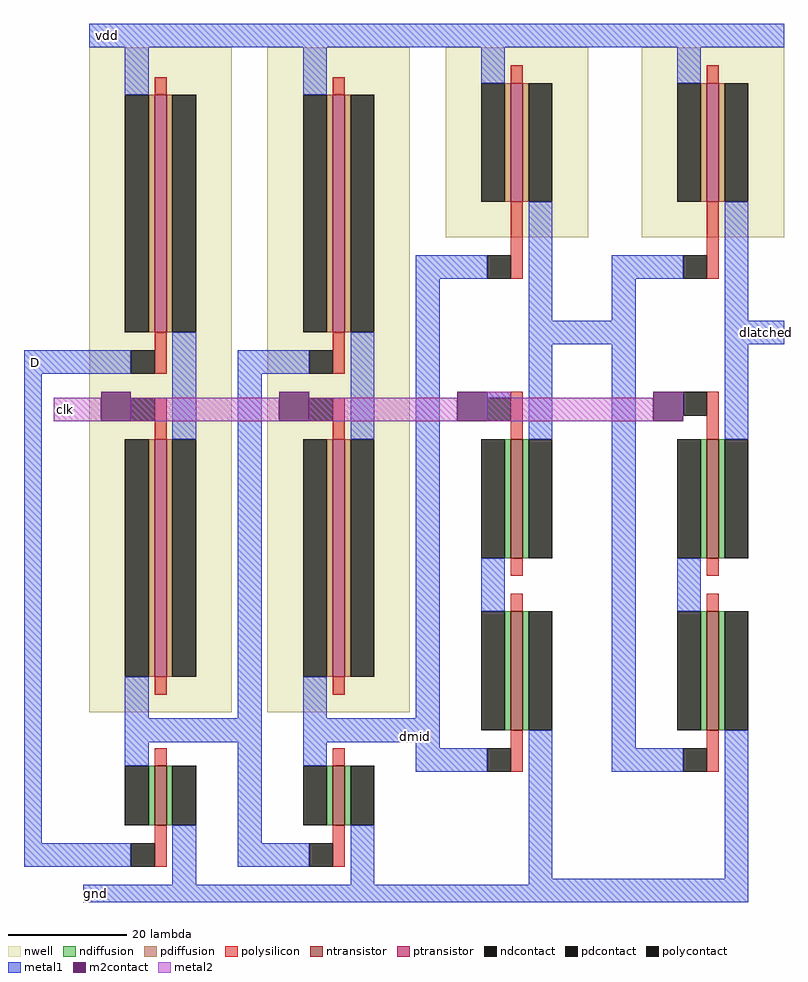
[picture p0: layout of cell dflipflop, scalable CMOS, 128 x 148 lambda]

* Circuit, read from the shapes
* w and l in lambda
.subckt dflipflop D clk dlatched dmid gnd vdd
M1 gnd D n1 VSUBS nfet w=10 l=2
M2 gnd n1 dmid VSUBS nfet w=10 l=2
M3 gnd dmid n2 VSUBS nfet w=20 l=2
M4 n3 clk n2 VSUBS nfet w=20 l=2
M5 gnd n3 n4 VSUBS nfet w=20 l=2
M6 dlatched clk n4 VSUBS nfet w=20 l=2
M7 n5 clk n1 n6 pfet w=40 l=2
M8 n5 D vdd n6 pfet w=40 l=2
M9 n7 clk dmid n8 pfet w=40 l=2
M10 n7 n1 vdd n8 pfet w=40 l=2
M11 n3 dmid vdd n9 pfet w=20 l=2
M12 dlatched n3 vdd n10 pfet w=20 l=2
.ends

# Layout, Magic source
magic
tech scmos
<< nwell >>
rect 0 -58 24 54
rect 30 -58 54 54
rect 60 22 84 54
rect 93 22 117 54
<< ntransistor >>
rect 71 -32 73 -12
rect 104 -32 106 -12
rect 71 -61 73 -41
rect 104 -61 106 -41
rect 11 -77 13 -67
rect 41 -77 43 -67
<< ptransistor >>
rect 11 6 13 46
rect 41 6 43 46
rect 71 28 73 48
rect 104 28 106 48
rect 11 -52 13 -12
rect 41 -52 43 -12
<< ndiffusion >>
rect 70 -32 71 -12
rect 73 -32 74 -12
rect 103 -32 104 -12
rect 106 -32 107 -12
rect 70 -61 71 -41
rect 73 -61 74 -41
rect 103 -61 104 -41
rect 106 -61 107 -41
rect 10 -77 11 -67
rect 13 -77 14 -67
rect 40 -77 41 -67
rect 43 -77 44 -67
<< pdiffusion >>
rect 10 6 11 46
rect 13 6 14 46
rect 40 6 41 46
rect 43 6 44 46
rect 70 28 71 48
rect 73 28 74 48
rect 103 28 104 48
rect 106 28 107 48
rect 10 -52 11 -12
rect 13 -52 14 -12
rect 40 -52 41 -12
rect 43 -52 44 -12
<< ndcontact >>
rect 66 -32 70 -12
rect 74 -32 78 -12
rect 99 -32 103 -12
rect 107 -32 111 -12
rect 66 -61 70 -41
rect 74 -61 78 -41
rect 99 -61 103 -41
rect 107 -61 111 -41
rect 6 -77 10 -67
rect 14 -77 18 -67
rect 36 -77 40 -67
rect 44 -77 48 -67
<< pdcontact >>
rect 6 6 10 46
rect 14 6 18 46
rect 36 6 40 46
rect 44 6 48 46
rect 66 28 70 48
rect 74 28 78 48
rect 99 28 103 48
rect 107 28 111 48
rect 6 -52 10 -12
rect 14 -52 18 -12
rect 36 -52 40 -12
rect 44 -52 48 -12
<< polysilicon >>
rect 11 46 13 49
rect 41 46 43 49
rect 71 48 73 51
rect 104 48 106 51
rect 71 15 73 28
rect 104 15 106 28
rect 11 -1 13 6
rect 41 -1 43 6
rect 11 -12 13 -5
rect 41 -12 43 -5
rect 71 -12 73 -4
rect 104 -12 106 -4
rect 71 -35 73 -32
rect 104 -35 106 -32
rect 71 -41 73 -38
rect 104 -41 106 -38
rect 11 -55 13 -52
rect 41 -55 43 -52
rect 11 -67 13 -64
rect 41 -67 43 -64
rect 71 -68 73 -61
rect 104 -68 106 -61
rect 11 -84 13 -77
rect 41 -84 43 -77
<< polycontact >>
rect 67 15 71 19
rect 100 15 104 19
rect 7 -1 11 3
rect 37 -1 41 3
rect 7 -9 11 -5
rect 37 -9 41 -5
rect 67 -9 71 -5
rect 100 -8 104 -4
rect 67 -68 71 -64
rect 100 -68 104 -64
rect 7 -84 11 -80
rect 37 -84 41 -80
<< metal1 >>
rect 0 54 117 58
rect 6 46 10 54
rect 36 46 40 54
rect 66 48 70 54
rect 99 48 103 54
rect -11 -1 7 3
rect -11 -80 -8 -1
rect 14 -12 18 6
rect 25 -1 37 3
rect 6 -59 10 -52
rect 25 -59 29 -1
rect 44 -12 48 6
rect 6 -63 29 -59
rect 6 -67 10 -63
rect -11 -84 7 -80
rect 14 -87 18 -77
rect 25 -80 29 -63
rect 55 15 67 19
rect 36 -59 40 -52
rect 55 -59 59 15
rect 74 8 78 28
rect 88 15 100 19
rect 88 8 92 15
rect 74 4 92 8
rect 67 -5 71 -4
rect 74 -12 78 4
rect 36 -63 59 -59
rect 66 -41 70 -32
rect 36 -67 40 -63
rect 55 -64 59 -63
rect 55 -68 67 -64
rect 25 -84 37 -80
rect 44 -87 48 -77
rect 74 -86 78 -61
rect 88 -64 92 4
rect 107 8 111 28
rect 107 4 117 8
rect 107 -12 111 4
rect 99 -41 103 -32
rect 88 -68 100 -64
rect 107 -86 111 -61
rect 74 -87 111 -86
rect -1 -90 111 -87
<< m2contact >>
rect 2 -9 7 -4
rect 32 -9 37 -4
rect 62 -9 67 -4
rect 95 -9 100 -4
<< metal2 >>
rect -6 -9 2 -5
rect 7 -9 32 -5
rect 37 -9 62 -5
rect 67 -5 71 -4
rect 67 -9 95 -5
<< labels >>
rlabel metal1 0 54 6 58 5 vdd
rlabel metal1 -11 -1 -7 3 3 D
rlabel metal1 111 4 117 8 7 dlatched
rlabel metal1 -1 -90 3 -87 1 gnd
rlabel metal2 -6 -9 -2 -5 1 clk
rlabel metal1 54 -63 56 -61 1 dmid
<< end >>
